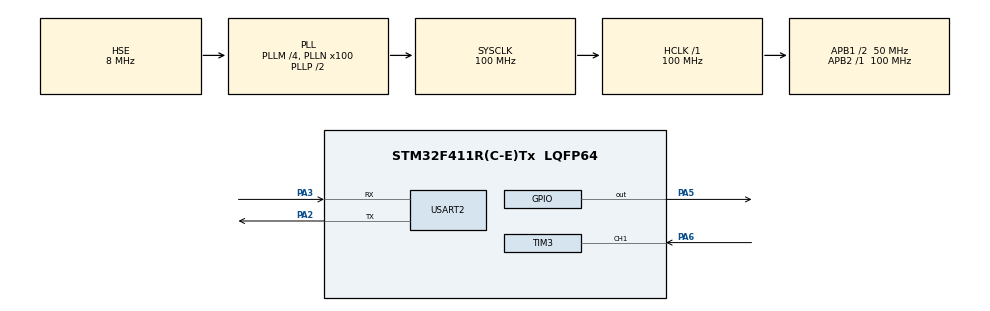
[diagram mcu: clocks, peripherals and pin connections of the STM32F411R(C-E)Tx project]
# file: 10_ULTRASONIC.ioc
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Mcu.Family=STM32F4
Mcu.Name=STM32F411R(C-E)Tx
Mcu.Package=LQFP64
NVIC.PriorityGroup=NVIC_PRIORITYGROUP_4
NVIC.TIM3_IRQn=true\:0\:0\:false\:false\:true\:true\:true\:true
PA13.Mode=Serial_Wire
PA13.Signal=SYS_JTMS-SWDIO
PA14.Mode=Serial_Wire
PA14.Signal=SYS_JTCK-SWCLK
PA2.Mode=Asynchronous
PA2.Signal=USART2_TX
PA3.Mode=Asynchronous
PA3.Signal=USART2_RX
PA5.GPIO_Speed=GPIO_SPEED_FREQ_VERY_HIGH
PA5.Signal=GPIO_Output
PA6.Signal=S_TIM3_CH1
PH0\ -\ OSC_IN.Mode=HSE-External-Oscillator
PH0\ -\ OSC_IN.Signal=RCC_OSC_IN
PH1\ -\ OSC_OUT.Mode=HSE-External-Oscillator
PH1\ -\ OSC_OUT.Signal=RCC_OSC_OUT
ProjectManager.HeapSize=0x200
ProjectManager.StackSize=0x400
ProjectManager.TargetToolchain=STM32CubeIDE
RCC.48MHZClocksFreq_Value=50000000
RCC.AHBFreq_Value=100000000
RCC.APB1CLKDivider=RCC_HCLK_DIV2
RCC.APB1Freq_Value=50000000
RCC.APB1TimFreq_Value=100000000
RCC.APB2Freq_Value=100000000
RCC.APB2TimFreq_Value=100000000
RCC.CortexFreq_Value=100000000
RCC.HCLKFreq_Value=100000000
RCC.HSE_VALUE=8000000
RCC.HSI_VALUE=16000000
RCC.LSE_VALUE=32768
RCC.PLLM=4
RCC.PLLN=100
RCC.PLLSourceVirtual=RCC_PLLSOURCE_HSE
RCC.SYSCLKFreq_VALUE=100000000
RCC.SYSCLKSource=RCC_SYSCLKSOURCE_PLLCLK
RCC.VCOOutputFreq_Value=200000000
SH.S_TIM3_CH1.0=TIM3_CH1,Input_Capture1_from_TI1
TIM11.Prescaler=100-1
TIM3.Channel-Input_Capture1_from_TI1=TIM_CHANNEL_1
TIM3.Prescaler=100-1
USART2.VirtualMode=VM_ASYNC
VP_TIM11_VS_ClockSourceINT.Mode=Enable_Timer
VP_TIM3_VS_ClockSourceINT.Mode=Internal
board=custom

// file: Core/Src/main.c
/* USER CODE BEGIN Header */
/**
  ******************************************************************************
  * @file           : main.c
  * @brief          : Main program body
  ******************************************************************************
  * @attention
  *
  * Copyright (c) 2025 STMicroelectronics.
  * All rights reserved.
  *
  * This software is licensed under terms that can be found in the LICENSE file
  * in the root directory of this software component.
  * If no LICENSE file comes with this software, it is provided AS-IS.
  *
  ******************************************************************************
  */
/* USER CODE END Header */
#include "main.h"
#include "tim.h"
#include "usart.h"
#include "gpio.h"

/* USER CODE BEGIN Includes */

#include "stdio.h"
#include "delay_us.h"

/* USER CODE END Includes */

/* USER CODE BEGIN PD */

#define TRIG_PORT GPIOA
#define TRIG_PIN GPIO_PIN_5

/* USER CODE END PD */

/* USER CODE BEGIN PM */

#ifdef __GNUC__
/* With GCC small printf (option LD Linker->Libraries->Small printf
 * set to 'Yes') calls __io_putchar() */
#define PUTCHAR_PROTOTYPE int  __io_putchar(int ch)
#else
#define PUTCHAR_PROTOTYPE int  fputc(int ch, FILE *f)
#endif /* __GNUC__*/

/** @brief Retargets the C library printf function to the USART.
 *  @param None
 *  @retval None
 */
PUTCHAR_PROTOTYPE
{
  /* Place your implementation of fputc here */
  /* e.g. write a character to the USART2 and Loop
     until the end of transmission */
  if(ch == '\n')
    HAL_UART_Transmit(&huart2, (uint8_t*) "\r", 1, 0xFFFF);
    HAL_UART_Transmit(&huart2, (uint8_t*) &ch, 1, 0xFFFF);
}

/* USER CODE END PM */

/* USER CODE BEGIN PV */

uint16_t IC_Value1 = 0;
uint16_t IC_Value2 = 0;
uint16_t echoTime = 0;
uint8_t captureFlag = 0;
uint8_t distance = 0;

/* USER CODE END PV */

void SystemClock_Config(void);
/* USER CODE BEGIN PFP */

//void HCSR04_TRIG(void)
//{
//  HAL_GPIO_WritePin(TRIG_PORT, TRIG_PIN, GPIO_PIN_RESET);
//  delay_us(10);
//  HAL_GPIO_WritePin(TRIG_PORT, TRIG_PIN, GPIO_PIN_SET);
//
//  __HAL_TIM_ENABLE_IT(&htim3, TIM_IT_CC1);
//}

void HAL_TIM_IC_CaptureCallback(TIM_HandleTypeDef *htim)
{
  if(htim->Channel == HAL_TIM_ACTIVE_CHANNEL_1)
  {
    if(captureFlag == 0)  // 아직 캡처를 안했다면
    {
      IC_Value1 = HAL_TIM_ReadCapturedValue(&htim3, TIM_CHANNEL_1);
      captureFlag = 1;    // 캡처 했음 !!!
      // 캡처에 대한 극성을 라이징에서 폴링으로 바꿈
      __HAL_TIM_SET_CAPTUREPOLARITY(&htim3, TIM_CHANNEL_1, TIM_INPUTCHANNELPOLARITY_FALLING);
    }
    else if(captureFlag == 1) // 캡처를 했다면
    {
      IC_Value2 = HAL_TIM_ReadCapturedValue(&htim3, TIM_CHANNEL_1);
      __HAL_TIM_SET_COUNTER(&htim3, 0);

      if(IC_Value2 > IC_Value1)
      {
        echoTime = IC_Value2 - IC_Value1;
      }
      else if(IC_Value1 > IC_Value2)
      {
        echoTime = (0xffff - IC_Value1) + IC_Value2;
      }
      distance = echoTime / 58;
      captureFlag = 0;
      __HAL_TIM_SET_CAPTUREPOLARITY(&htim3, TIM_CHANNEL_1, TIM_INPUTCHANNELPOLARITY_RISING);
      __HAL_TIM_DISABLE_IT(&htim3, TIM_IT_CC1);
    }
  }
}

/* USER CODE END PFP */

int main(void)
{

  /* MCU Configuration--------------------------------------------------------*/

  /* Reset of all peripherals, Initializes the Flash interface and the Systick. */
  HAL_Init();

  /* Configure the system clock */
  SystemClock_Config();

  /* Initialize all configured peripherals */
  MX_GPIO_Init();
  MX_TIM3_Init();
  MX_TIM11_Init();
  MX_USART2_UART_Init();
  /* USER CODE BEGIN 2 */

  HAL_TIM_Base_Start(&htim11);          // for us timer
  HAL_TIM_IC_Start_IT(&htim3, TIM_CHANNEL_1); // for ultrasonic timer

  /* USER CODE END 2 */

  /* Infinite loop */
  /* USER CODE BEGIN WHILE */
  while (1)
  {
//      HCSR04_TRIG();
      HAL_GPIO_WritePin(TRIG_PORT, TRIG_PIN, GPIO_PIN_RESET);
      delay_us(10);
      HAL_GPIO_WritePin(TRIG_PORT, TRIG_PIN, GPIO_PIN_SET);

      __HAL_TIM_ENABLE_IT(&htim3, TIM_IT_CC1);
      printf(" %d cm\r\n",distance);
      HAL_Delay(500);
    /* USER CODE END WHILE */

  }
}

void SystemClock_Config(void)
{
  RCC_OscInitTypeDef RCC_OscInitStruct = {0};
  RCC_ClkInitTypeDef RCC_ClkInitStruct = {0};

  /** Configure the main internal regulator output voltage
  */
  __HAL_RCC_PWR_CLK_ENABLE();
  __HAL_PWR_VOLTAGESCALING_CONFIG(PWR_REGULATOR_VOLTAGE_SCALE1);

  /** Initializes the RCC Oscillators according to the specified parameters
  * in the RCC_OscInitTypeDef structure.
  */
  RCC_OscInitStruct.OscillatorType = RCC_OSCILLATORTYPE_HSE;
  RCC_OscInitStruct.HSEState = RCC_HSE_ON;
  RCC_OscInitStruct.PLL.PLLState = RCC_PLL_ON;
  RCC_OscInitStruct.PLL.PLLSource = RCC_PLLSOURCE_HSE;
  RCC_OscInitStruct.PLL.PLLM = 4;
  RCC_OscInitStruct.PLL.PLLN = 100;
  RCC_OscInitStruct.PLL.PLLP = RCC_PLLP_DIV2;
  RCC_OscInitStruct.PLL.PLLQ = 4;
  if (HAL_RCC_OscConfig(&RCC_OscInitStruct) != HAL_OK)
  {
    Error_Handler();
  }

  /** Initializes the CPU, AHB and APB buses clocks
  */
  RCC_ClkInitStruct.ClockType = RCC_CLOCKTYPE_HCLK|RCC_CLOCKTYPE_SYSCLK
                              |RCC_CLOCKTYPE_PCLK1|RCC_CLOCKTYPE_PCLK2;
  RCC_ClkInitStruct.SYSCLKSource = RCC_SYSCLKSOURCE_PLLCLK;
  RCC_ClkInitStruct.AHBCLKDivider = RCC_SYSCLK_DIV1;
  RCC_ClkInitStruct.APB1CLKDivider = RCC_HCLK_DIV2;
  RCC_ClkInitStruct.APB2CLKDivider = RCC_HCLK_DIV1;

  if (HAL_RCC_ClockConfig(&RCC_ClkInitStruct, FLASH_LATENCY_3) != HAL_OK)
  {
    Error_Handler();
  }
}

void Error_Handler(void)
{
  __disable_irq();
  while (1)
  {
  }
}
